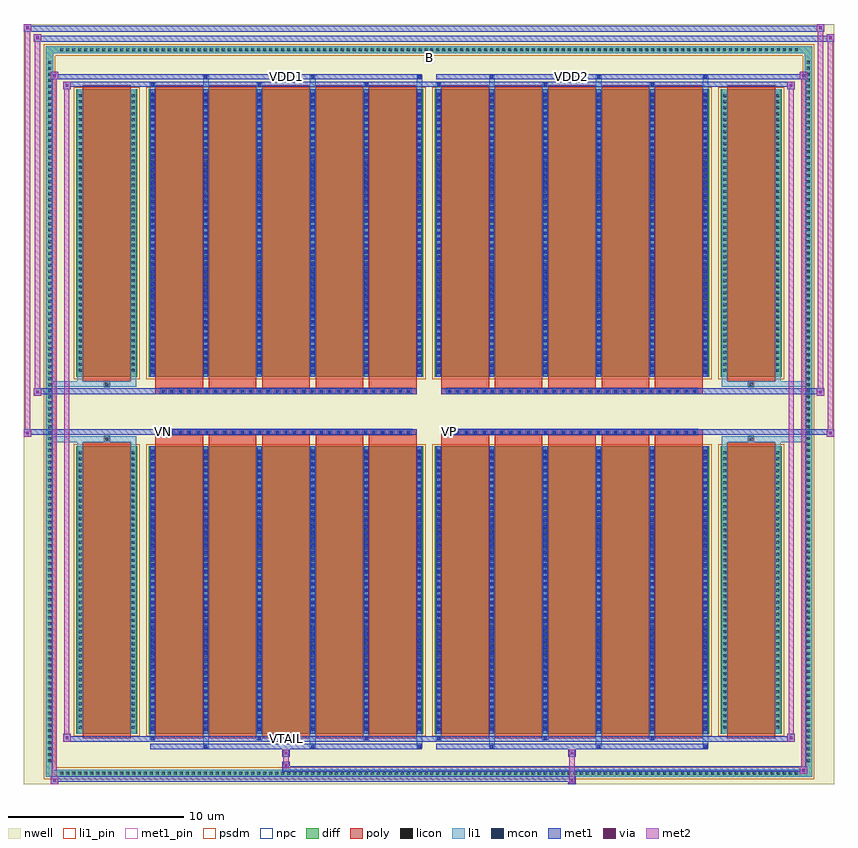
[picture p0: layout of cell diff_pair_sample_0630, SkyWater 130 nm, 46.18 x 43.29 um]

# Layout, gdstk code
import gdstk
lib = gdstk.Library(unit=1e-6, precision=5e-09)
def R(c, l, rs):  # rectangles x0, y0, x1, y1
    for r in rs: c.add(gdstk.rectangle(r[:2], r[2:], *l))
def A(c, l, x, y, w, h, nx, ny, dx, dy):  # array of equal rectangles
    R(c, l, [(x+i*dx, y+j*dy, x+i*dx+w, y+j*dy+h) for i in range(nx) for j in range(ny)])
def P(c, l, *ps):  # polygons
    for p in ps: c.add(gdstk.Polygon(p, *l))
nwell = (64, 20)
diff = (65, 20)
poly = (66, 20)
licon = (66, 44)
li1_pin = (67, 16)
li1 = (67, 20)
mcon = (67, 44)
met1_pin = (68, 16)
met1 = (68, 20)
via = (68, 44)
met2 = (69, 20)
psdm = (94, 20)
npc = (95, 20)

diff_pair_sample_0630 = lib.new_cell('diff_pair_sample_0630')
R(diff_pair_sample_0630, nwell, [(-23.09,-21.21,23.09,22.08), (-20.41,-19.4,-0.01,-0.8), (0.01,-19.4,20.41,-0.8), (-20.41,0.8,-0.01,19.4), (0.01,0.8,20.41,19.4)])
A(diff_pair_sample_0630, diff, -21.115, -20.81, 0.41, 0.41, 124, 2, 0.34, 41.21)
A(diff_pair_sample_0630, diff, -21.82, -20.095, 0.41, 0.41, 1, 118, 0, 0.34)
A(diff_pair_sample_0630, diff, 21.41, -20.095, 0.41, 0.41, 1, 118, 0, 0.34)
R(diff_pair_sample_0630, diff, [(-21.115,-20.81,21.115,-20.4), (-21.82,-20.095,-21.41,20.095), (21.41,-20.095,21.82,20.095), (-20.1,-18.355,-16.61,-1.985), (-15.97,-18.355,-0.32,-1.985), (0.32,-18.355,15.97,-1.985), (16.61,-18.355,20.1,-1.985), (-20.1,1.985,-16.61,18.355), (-15.97,1.985,-0.32,18.355), (0.32,1.985,15.97,18.355), (16.61,1.985,20.1,18.355), (-21.115,20.4,21.115,20.81)])
P(diff_pair_sample_0630, diff, [(21.82,20.81),(-21.82,20.81),(-21.82,-20.4),(-21.41,-20.4),(-21.41,20.4),(21.41,20.4),(21.41,-20.4),(-21.41,-20.4),(-21.82,-20.4),(-21.82,-20.81),(21.82,-20.81)])
A(diff_pair_sample_0630, poly, -15.58, -18.605, 2.71, 16.87, 5, 2, 3.04, 20.34)
A(diff_pair_sample_0630, poly, 0.71, -18.605, 2.71, 16.87, 5, 2, 3.04, 20.34)
A(diff_pair_sample_0630, poly, -15.58, -1.735, 2.71, 0.405, 5, 2, 3.04, 3.065)
A(diff_pair_sample_0630, poly, 0.71, -1.735, 2.71, 0.405, 5, 2, 3.04, 3.065)
A(diff_pair_sample_0630, poly, -15.31, -1.33, 0.33, 0.33, 29, 2, 0.5, 2.33)
A(diff_pair_sample_0630, poly, 0.98, -1.33, 0.33, 0.33, 29, 2, 0.5, 2.33)
R(diff_pair_sample_0630, poly, [(-19.71,-18.605,-17,-1.735), (17,-18.605,19.71,-1.735), (-18.52,-1.735,-18.19,-1.405), (-18.52,-1.735,-18.19,-1.405), (18.19,-1.735,18.52,-1.405), (18.19,-1.735,18.52,-1.405), (-15.58,-1.33,-0.71,-1), (0.71,-1.33,15.58,-1), (-15.58,1,-0.71,1.33), (0.71,1,15.58,1.33), (-18.52,1.405,-18.19,1.735), (-18.52,1.405,-18.19,1.735), (18.19,1.405,18.52,1.735), (18.19,1.405,18.52,1.735), (-19.71,1.735,-17,18.605), (17,1.735,19.71,18.605)])
A(diff_pair_sample_0630, licon, -20.995, -20.69, 0.17, 0.17, 124, 2, 0.34, 41.21)
A(diff_pair_sample_0630, licon, -21.7, -19.975, 0.17, 0.17, 1, 118, 0, 0.34)
A(diff_pair_sample_0630, licon, 21.53, -19.975, 0.17, 0.17, 1, 118, 0, 0.34)
A(diff_pair_sample_0630, licon, -19.96, -18.075, 0.17, 0.17, 1, 47, 0, 0.34)
A(diff_pair_sample_0630, licon, -16.92, -18.075, 0.17, 0.17, 1, 47, 0, 0.34)
A(diff_pair_sample_0630, licon, -15.83, -18.075, 0.17, 0.17, 6, 47, 3.04, 0.34)
A(diff_pair_sample_0630, licon, 0.46, -18.075, 0.17, 0.17, 6, 47, 3.04, 0.34)
A(diff_pair_sample_0630, licon, 16.75, -18.075, 0.17, 0.17, 1, 47, 0, 0.34)
A(diff_pair_sample_0630, licon, 19.79, -18.075, 0.17, 0.17, 1, 47, 0, 0.34)
A(diff_pair_sample_0630, licon, -15.23, -1.25, 0.17, 0.17, 29, 2, 0.5, 2.33)
A(diff_pair_sample_0630, licon, 1.06, -1.25, 0.17, 0.17, 29, 2, 0.5, 2.33)
A(diff_pair_sample_0630, licon, -19.96, 2.265, 0.17, 0.17, 1, 47, 0, 0.34)
A(diff_pair_sample_0630, licon, -16.92, 2.265, 0.17, 0.17, 1, 47, 0, 0.34)
A(diff_pair_sample_0630, licon, -15.83, 2.265, 0.17, 0.17, 6, 47, 3.04, 0.34)
A(diff_pair_sample_0630, licon, 0.46, 2.265, 0.17, 0.17, 6, 47, 3.04, 0.34)
A(diff_pair_sample_0630, licon, 16.75, 2.265, 0.17, 0.17, 1, 47, 0, 0.34)
A(diff_pair_sample_0630, licon, 19.79, 2.265, 0.17, 0.17, 1, 47, 0, 0.34)
R(diff_pair_sample_0630, licon, [(-18.44,-1.655,-18.27,-1.485), (18.27,-1.655,18.44,-1.485), (-18.44,1.485,-18.27,1.655), (18.27,1.485,18.44,1.655)])
R(diff_pair_sample_0630, li1_pin, [(-0.25,19.9,0.25,20.4)])
A(diff_pair_sample_0630, li1, -21.075, -20.77, 0.33, 0.33, 124, 2, 0.34, 41.21)
A(diff_pair_sample_0630, li1, -21.78, -20.055, 0.33, 0.33, 1, 118, 0, 0.34)
A(diff_pair_sample_0630, li1, 21.45, -20.055, 0.33, 0.33, 1, 118, 0, 0.34)
A(diff_pair_sample_0630, li1, -12.87, -19.16, 0.33, 0.805, 3, 2, 6.08, 37.515)
A(diff_pair_sample_0630, li1, -12.79, -19.16, 0.17, 0.17, 3, 2, 6.08, 38.15)
A(diff_pair_sample_0630, li1, 3.42, -19.16, 0.33, 0.805, 3, 2, 6.08, 37.515)
A(diff_pair_sample_0630, li1, 3.5, -19.16, 0.17, 0.17, 3, 2, 6.08, 38.15)
A(diff_pair_sample_0630, li1, -15.91, -18.73, 0.33, 0.375, 3, 2, 6.08, 37.085)
A(diff_pair_sample_0630, li1, -15.83, -18.73, 0.17, 0.17, 3, 2, 6.08, 37.29)
A(diff_pair_sample_0630, li1, 0.38, -18.73, 0.33, 0.375, 3, 2, 6.08, 37.085)
A(diff_pair_sample_0630, li1, 0.46, -18.73, 0.17, 0.17, 3, 2, 6.08, 37.29)
A(diff_pair_sample_0630, li1, -15.91, -18.355, 0.33, 16.37, 6, 2, 3.04, 20.34)
A(diff_pair_sample_0630, li1, 0.38, -18.355, 0.33, 16.37, 6, 2, 3.04, 20.34)
A(diff_pair_sample_0630, li1, -15.83, -18.175, 0.17, 0.17, 6, 45, 3.04, 0.36)
A(diff_pair_sample_0630, li1, -15.83, -18.175, 0.17, 16.01, 6, 2, 3.04, 20.34)
A(diff_pair_sample_0630, li1, 0.46, -18.175, 0.17, 0.17, 6, 45, 3.04, 0.36)
A(diff_pair_sample_0630, li1, 0.46, -18.175, 0.17, 16.01, 6, 2, 3.04, 20.34)
A(diff_pair_sample_0630, li1, -20.04, -18.155, 0.33, 0.33, 1, 47, 0, 0.34)
A(diff_pair_sample_0630, li1, -17, -18.155, 0.33, 0.33, 1, 47, 0, 0.34)
A(diff_pair_sample_0630, li1, -15.91, -18.155, 0.33, 0.33, 6, 47, 3.04, 0.34)
A(diff_pair_sample_0630, li1, 0.38, -18.155, 0.33, 0.33, 6, 47, 3.04, 0.34)
A(diff_pair_sample_0630, li1, 16.67, -18.155, 0.33, 0.33, 1, 47, 0, 0.34)
A(diff_pair_sample_0630, li1, 19.71, -18.155, 0.33, 0.33, 1, 47, 0, 0.34)
A(diff_pair_sample_0630, li1, -15.31, -1.33, 0.33, 0.33, 29, 2, 0.5, 2.33)
A(diff_pair_sample_0630, li1, 0.98, -1.33, 0.33, 0.33, 29, 2, 0.5, 2.33)
A(diff_pair_sample_0630, li1, -15.83, 2.165, 0.17, 0.17, 6, 45, 3.04, 0.36)
A(diff_pair_sample_0630, li1, 0.46, 2.165, 0.17, 0.17, 6, 45, 3.04, 0.36)
A(diff_pair_sample_0630, li1, -20.04, 2.185, 0.33, 0.33, 1, 47, 0, 0.34)
A(diff_pair_sample_0630, li1, -17, 2.185, 0.33, 0.33, 1, 47, 0, 0.34)
A(diff_pair_sample_0630, li1, -15.91, 2.185, 0.33, 0.33, 6, 47, 3.04, 0.34)
A(diff_pair_sample_0630, li1, 0.38, 2.185, 0.33, 0.33, 6, 47, 3.04, 0.34)
A(diff_pair_sample_0630, li1, 16.67, 2.185, 0.33, 0.33, 1, 47, 0, 0.34)
A(diff_pair_sample_0630, li1, 19.71, 2.185, 0.33, 0.33, 1, 47, 0, 0.34)
R(diff_pair_sample_0630, li1, [(-21.82,-20.81,-21.41,-20.4), (-21.82,-20.81,-21.41,-20.4), (-21.41,-20.81,21.41,-20.4), (21.41,-20.81,21.82,-20.4), (21.41,-20.81,21.82,-20.4), (-21.82,-20.4,-21.41,20.4), (21.41,-20.4,21.82,20.4), (-20.04,-18.355,-19.71,-1.985), (-17,-18.355,-16.67,-1.985), (16.67,-18.355,17,-1.985), (19.71,-18.355,20.04,-1.985), (-20.04,-1.985,-19.71,-1.405), (-17,-1.985,-16.67,-1.405), (16.67,-1.985,17,-1.405), (19.71,-1.985,20.04,-1.405), (-21.82,-1.735,-18.52,-1.405), (-20.04,-1.735,-18.52,-1.405), (-18.52,-1.735,-18.19,-1.405), (-18.19,-1.735,-16.67,-1.405), (16.67,-1.735,18.19,-1.405), (18.19,-1.735,18.52,-1.405), (18.19,-1.735,21.82,-1.405), (18.52,-1.735,20.04,-1.405), (-21.82,1.405,-18.52,1.735), (-20.04,1.405,-18.52,1.735), (-20.04,1.405,-19.71,1.985), (-18.52,1.405,-18.19,1.735), (-18.19,1.405,-16.67,1.735), (-17,1.405,-16.67,1.985), (16.67,1.405,18.19,1.735), (16.67,1.405,17,1.985), (18.19,1.405,18.52,1.735), (18.19,1.405,21.82,1.735), (18.52,1.405,20.04,1.735), (19.71,1.405,20.04,1.985), (-20.04,1.985,-19.71,18.355), (-17,1.985,-16.67,18.355), (16.67,1.985,17,18.355), (19.71,1.985,20.04,18.355), (-21.82,20.4,-21.41,20.81), (-21.82,20.4,-21.41,20.81), (-21.41,20.4,21.41,20.81), (21.41,20.4,21.82,20.81), (21.41,20.4,21.82,20.81)])
A(diff_pair_sample_0630, mcon, -12.79, -19.16, 0.17, 0.17, 3, 2, 6.08, 38.15)
A(diff_pair_sample_0630, mcon, 3.5, -19.16, 0.17, 0.17, 3, 2, 6.08, 38.15)
A(diff_pair_sample_0630, mcon, -15.83, -18.73, 0.17, 0.17, 3, 2, 6.08, 37.29)
A(diff_pair_sample_0630, mcon, 0.46, -18.73, 0.17, 0.17, 3, 2, 6.08, 37.29)
A(diff_pair_sample_0630, mcon, -15.83, -18.175, 0.17, 0.17, 6, 45, 3.04, 0.36)
A(diff_pair_sample_0630, mcon, 0.46, -18.175, 0.17, 0.17, 6, 45, 3.04, 0.36)
A(diff_pair_sample_0630, mcon, -15.23, -1.25, 0.17, 0.17, 29, 2, 0.5, 2.33)
A(diff_pair_sample_0630, mcon, 1.06, -1.25, 0.17, 0.17, 29, 2, 0.5, 2.33)
A(diff_pair_sample_0630, mcon, -15.83, 2.165, 0.17, 0.17, 6, 45, 3.04, 0.36)
A(diff_pair_sample_0630, mcon, 0.46, 2.165, 0.17, 0.17, 6, 45, 3.04, 0.36)
R(diff_pair_sample_0630, met1_pin, [(-8.28,-18.77,-8.01,-18.5), (-15.28,-1.29,-15.01,-1.02), (1.01,-1.29,1.28,-1.02), (-8.28,18.95,-8.01,19.22), (8.01,18.95,8.28,19.22)])
A(diff_pair_sample_0630, met1, -12.85, -19.22, 0.29, 0.29, 3, 2, 6.08, 38.15)
A(diff_pair_sample_0630, met1, 3.44, -19.22, 0.29, 0.29, 3, 2, 6.08, 38.15)
A(diff_pair_sample_0630, met1, -15.89, -18.79, 0.29, 0.29, 3, 2, 6.08, 37.29)
A(diff_pair_sample_0630, met1, 0.4, -18.79, 0.29, 0.29, 3, 2, 6.08, 37.29)
A(diff_pair_sample_0630, met1, -15.89, -18.355, 0.29, 16.37, 6, 2, 3.04, 20.34)
A(diff_pair_sample_0630, met1, 0.4, -18.355, 0.29, 16.37, 6, 2, 3.04, 20.34)
A(diff_pair_sample_0630, met1, -15.89, -18.235, 0.29, 0.29, 6, 45, 3.04, 0.36)
A(diff_pair_sample_0630, met1, 0.4, -18.235, 0.29, 0.29, 6, 45, 3.04, 0.36)
A(diff_pair_sample_0630, met1, -15.29, -1.31, 0.29, 0.29, 29, 2, 0.5, 2.33)
A(diff_pair_sample_0630, met1, 1, -1.31, 0.29, 0.29, 29, 2, 0.5, 2.33)
A(diff_pair_sample_0630, met1, -15.89, 2.105, 0.29, 0.29, 6, 45, 3.04, 0.36)
A(diff_pair_sample_0630, met1, 0.4, 2.105, 0.29, 0.29, 6, 45, 3.04, 0.36)
R(diff_pair_sample_0630, met1, [(-21.55,-21.21,-21.12,-20.78), (7.93,-21.21,8.36,-20.78), (-21.55,-21.07,8.36,-20.78), (21.12,-20.64,21.55,-20.21), (-8.36,-20.5,21.55,-20.21), (-8.36,-20.36,-7.93,-19.93), (-8.36,-19.65,-7.93,-19.22), (7.93,-19.65,8.36,-19.22), (-15.89,-19.22,-0.4,-18.93), (0.4,-19.22,15.89,-18.93), (-20.84,-18.79,-20.41,-18.36), (-20.84,-18.79,-15.89,-18.5), (-15.89,-18.79,-0.4,-18.5), (-0.4,-18.79,0.4,-18.5), (0.4,-18.79,15.89,-18.5), (15.89,-18.79,20.84,-18.5), (20.41,-18.79,20.84,-18.36), (-23.09,-1.43,-22.66,-1), (22.66,-1.43,23.09,-1), (-23.09,-1.33,-0.71,-1), (-15.58,-1.33,-0.71,-1), (0.71,-1.33,15.58,-1), (0.71,-1.33,23.09,-1), (-22.52,0.9,-22.09,1.33), (22.09,0.9,22.52,1.33), (-22.52,1,-15.58,1.33), (-15.58,1,-0.71,1.33), (0.71,1,15.58,1.33), (15.58,1,22.52,1.33), (-20.84,18.36,-20.41,18.79), (20.41,18.36,20.84,18.79), (-20.84,18.5,-15.89,18.79), (-15.89,18.5,-0.4,18.79), (-0.4,18.5,0.4,18.79), (0.4,18.5,15.89,18.79), (15.89,18.5,20.84,18.79), (-21.55,18.93,-21.12,19.36), (-21.55,18.93,-15.89,19.22), (-15.89,18.93,-0.4,19.22), (0.4,18.93,15.89,19.22), (15.89,18.93,21.55,19.22), (21.12,18.93,21.55,19.36), (-22.52,21.08,-22.09,21.51), (-22.52,21.08,-20.41,21.41), (-20.41,21.08,20.41,21.41), (20.41,21.08,23.09,21.41), (22.66,21.08,23.09,21.51), (-23.09,21.65,-22.66,22.08), (-23.09,21.65,-20.41,21.98), (-20.41,21.65,20.41,21.98), (20.41,21.65,22.52,21.98), (22.09,21.65,22.52,22.08)])
R(diff_pair_sample_0630, via, [(-21.41,-21.07,-21.26,-20.92), (8.07,-21.07,8.22,-20.92), (21.26,-20.5,21.41,-20.35), (-8.22,-20.22,-8.07,-20.07), (-8.22,-19.51,-8.07,-19.36), (8.07,-19.51,8.22,-19.36), (-20.7,-18.65,-20.55,-18.5), (20.55,-18.65,20.7,-18.5), (-22.95,-1.29,-22.8,-1.14), (22.8,-1.29,22.95,-1.14), (-22.38,1.04,-22.23,1.19), (22.23,1.04,22.38,1.19), (-20.7,18.5,-20.55,18.65), (20.55,18.5,20.7,18.65), (-21.41,19.07,-21.26,19.22), (21.26,19.07,21.41,19.22), (-22.38,21.22,-22.23,21.37), (22.8,21.22,22.95,21.37), (-22.95,21.79,-22.8,21.94), (22.23,21.79,22.38,21.94)])
R(diff_pair_sample_0630, met2, [(-21.55,-21.21,-21.12,-20.78), (-21.48,-21.21,-21.19,19.36), (-21.19,-21.21,-21.12,-20.78), (-21.5,-21.16,-21.17,-20.83), (7.98,-21.16,8.31,-20.83), (7.98,-20.83,8.31,-19.6), (21.12,-20.64,21.55,-20.21), (21.19,-20.64,21.48,19.36), (21.48,-20.64,21.55,-20.21), (21.17,-20.59,21.5,-20.26), (-8.31,-20.31,-7.98,-19.98), (-8.31,-19.98,-7.98,-19.6), (-8.31,-19.6,-7.98,-19.27), (7.98,-19.6,8.31,-19.27), (-20.84,-18.79,-20.41,-18.36), (-20.77,-18.79,-20.48,18.79), (-20.48,-18.79,-20.41,-18.36), (20.41,-18.79,20.84,-18.36), (20.48,-18.79,20.77,18.79), (20.77,-18.79,20.84,-18.36), (-20.79,-18.74,-20.46,-18.41), (20.46,-18.74,20.79,-18.41), (-23.09,-1.43,-22.66,-1), (-23.04,-1.43,-22.71,22.08), (-22.71,-1.43,-22.66,-1), (22.66,-1.43,23.09,-1), (22.71,-1.43,23.04,21.51), (23.04,-1.43,23.09,-1), (-23.04,-1.38,-22.71,-1.05), (22.71,-1.38,23.04,-1.05), (-22.52,0.9,-22.09,1.33), (-22.47,0.9,-22.14,21.51), (-22.14,0.9,-22.09,1.33), (22.09,0.9,22.52,1.33), (22.14,0.9,22.47,22.08), (22.47,0.9,22.52,1.33), (-22.47,0.95,-22.14,1.28), (22.14,0.95,22.47,1.28), (-20.84,18.36,-20.41,18.79), (-20.48,18.36,-20.41,18.79), (20.41,18.36,20.84,18.79), (20.77,18.36,20.84,18.79), (-20.79,18.41,-20.46,18.74), (20.46,18.41,20.79,18.74), (-21.55,18.93,-21.12,19.36), (-21.19,18.93,-21.12,19.36), (21.12,18.93,21.55,19.36), (21.48,18.93,21.55,19.36), (-21.5,18.98,-21.17,19.31), (21.17,18.98,21.5,19.31), (-22.52,21.08,-22.09,21.51), (-22.14,21.08,-22.09,21.51), (22.66,21.08,23.09,21.51), (23.04,21.08,23.09,21.51), (-22.47,21.13,-22.14,21.46), (22.71,21.13,23.04,21.46), (-23.09,21.65,-22.66,22.08), (-22.71,21.65,-22.66,22.08), (22.09,21.65,22.52,22.08), (22.47,21.65,22.52,22.08), (-23.04,21.7,-22.71,22.03), (22.14,21.7,22.47,22.03)])
R(diff_pair_sample_0630, psdm, [(-20.23,-18.485,-16.48,-1.855), (-16.1,-18.485,-0.19,-1.855), (0.19,-18.485,16.1,-1.855), (16.48,-18.485,20.23,-1.855), (-20.23,1.855,-16.48,18.485), (-16.1,1.855,-0.19,18.485), (0.19,1.855,16.1,18.485), (16.48,1.855,20.23,18.485)])
P(diff_pair_sample_0630, psdm, [(21.95,20.94),(-21.95,20.94),(-21.95,-20.27),(-21.28,-20.27),(-21.28,20.27),(21.28,20.27),(21.28,-20.27),(-21.28,-20.27),(-21.95,-20.27),(-21.95,-20.94),(21.95,-20.94)])
A(diff_pair_sample_0630, npc, -15.33, -1.35, 0.37, 0.37, 29, 2, 0.5, 2.33)
A(diff_pair_sample_0630, npc, 0.96, -1.35, 0.37, 0.37, 29, 2, 0.5, 2.33)
R(diff_pair_sample_0630, npc, [(-18.54,-1.755,-18.17,-1.385), (18.17,-1.755,18.54,-1.385), (-15.33,-1.35,-14.46,-0.98), (-15.33,-1.35,-14.46,-0.98), (-14.83,-1.35,-13.96,-0.98), (-14.83,-1.35,-13.96,-0.98), (-14.33,-1.35,-13.46,-0.98), (-14.33,-1.35,-13.46,-0.98), (-13.83,-1.35,-12.96,-0.98), (-13.83,-1.35,-12.96,-0.98), (-13.33,-1.35,-12.46,-0.98), (-13.33,-1.35,-12.46,-0.98), (-12.83,-1.35,-11.96,-0.98), (-12.83,-1.35,-11.96,-0.98), (-12.33,-1.35,-11.46,-0.98), (-12.33,-1.35,-11.46,-0.98), (-11.83,-1.35,-10.96,-0.98), (-11.83,-1.35,-10.96,-0.98), (-11.33,-1.35,-10.46,-0.98), (-11.33,-1.35,-10.46,-0.98), (-10.83,-1.35,-9.96,-0.98), (-10.83,-1.35,-9.96,-0.98), (-10.33,-1.35,-9.46,-0.98), (-10.33,-1.35,-9.46,-0.98), (-9.83,-1.35,-8.96,-0.98), (-9.83,-1.35,-8.96,-0.98), (-9.33,-1.35,-8.46,-0.98), (-9.33,-1.35,-8.46,-0.98), (-8.83,-1.35,-7.96,-0.98), (-8.83,-1.35,-7.96,-0.98), (-8.33,-1.35,-7.46,-0.98), (-8.33,-1.35,-7.46,-0.98), (-7.83,-1.35,-6.96,-0.98), (-7.83,-1.35,-6.96,-0.98), (-7.33,-1.35,-6.46,-0.98), (-7.33,-1.35,-6.46,-0.98), (-6.83,-1.35,-5.96,-0.98), (-6.83,-1.35,-5.96,-0.98), (-6.33,-1.35,-5.46,-0.98), (-6.33,-1.35,-5.46,-0.98), (-5.83,-1.35,-4.96,-0.98), (-5.83,-1.35,-4.96,-0.98), (-5.33,-1.35,-4.46,-0.98), (-5.33,-1.35,-4.46,-0.98), (-4.83,-1.35,-3.96,-0.98), (-4.83,-1.35,-3.96,-0.98), (-4.33,-1.35,-3.46,-0.98), (-4.33,-1.35,-3.46,-0.98), (-3.83,-1.35,-2.96,-0.98), (-3.83,-1.35,-2.96,-0.98), (-3.33,-1.35,-2.46,-0.98), (-3.33,-1.35,-2.46,-0.98), (-2.83,-1.35,-1.96,-0.98), (-2.83,-1.35,-1.96,-0.98), (-2.33,-1.35,-1.46,-0.98), (-2.33,-1.35,-1.46,-0.98), (-1.83,-1.35,-0.96,-0.98), (-1.83,-1.35,-0.96,-0.98), (0.96,-1.35,1.83,-0.98), (0.96,-1.35,1.83,-0.98), (1.46,-1.35,2.33,-0.98), (1.46,-1.35,2.33,-0.98), (1.96,-1.35,2.83,-0.98), (1.96,-1.35,2.83,-0.98), (2.46,-1.35,3.33,-0.98), (2.46,-1.35,3.33,-0.98), (2.96,-1.35,3.83,-0.98), (2.96,-1.35,3.83,-0.98), (3.46,-1.35,4.33,-0.98), (3.46,-1.35,4.33,-0.98), (3.96,-1.35,4.83,-0.98), (3.96,-1.35,4.83,-0.98), (4.46,-1.35,5.33,-0.98), (4.46,-1.35,5.33,-0.98), (4.96,-1.35,5.83,-0.98), (4.96,-1.35,5.83,-0.98), (5.46,-1.35,6.33,-0.98), (5.46,-1.35,6.33,-0.98), (5.96,-1.35,6.83,-0.98), (5.96,-1.35,6.83,-0.98), (6.46,-1.35,7.33,-0.98), (6.46,-1.35,7.33,-0.98), (6.96,-1.35,7.83,-0.98), (6.96,-1.35,7.83,-0.98), (7.46,-1.35,8.33,-0.98), (7.46,-1.35,8.33,-0.98), (7.96,-1.35,8.83,-0.98), (7.96,-1.35,8.83,-0.98), (8.46,-1.35,9.33,-0.98), (8.46,-1.35,9.33,-0.98), (8.96,-1.35,9.83,-0.98), (8.96,-1.35,9.83,-0.98), (9.46,-1.35,10.33,-0.98), (9.46,-1.35,10.33,-0.98), (9.96,-1.35,10.83,-0.98), (9.96,-1.35,10.83,-0.98), (10.46,-1.35,11.33,-0.98), (10.46,-1.35,11.33,-0.98), (10.96,-1.35,11.83,-0.98), (10.96,-1.35,11.83,-0.98), (11.46,-1.35,12.33,-0.98), (11.46,-1.35,12.33,-0.98), (11.96,-1.35,12.83,-0.98), (11.96,-1.35,12.83,-0.98), (12.46,-1.35,13.33,-0.98), (12.46,-1.35,13.33,-0.98), (12.96,-1.35,13.83,-0.98), (12.96,-1.35,13.83,-0.98), (13.46,-1.35,14.33,-0.98), (13.46,-1.35,14.33,-0.98), (13.96,-1.35,14.83,-0.98), (13.96,-1.35,14.83,-0.98), (14.46,-1.35,15.33,-0.98), (14.46,-1.35,15.33,-0.98), (-15.33,0.98,-14.46,1.35), (-15.33,0.98,-14.46,1.35), (-14.83,0.98,-13.96,1.35), (-14.83,0.98,-13.96,1.35), (-14.33,0.98,-13.46,1.35), (-14.33,0.98,-13.46,1.35), (-13.83,0.98,-12.96,1.35), (-13.83,0.98,-12.96,1.35), (-13.33,0.98,-12.46,1.35), (-13.33,0.98,-12.46,1.35), (-12.83,0.98,-11.96,1.35), (-12.83,0.98,-11.96,1.35), (-12.33,0.98,-11.46,1.35), (-12.33,0.98,-11.46,1.35), (-11.83,0.98,-10.96,1.35), (-11.83,0.98,-10.96,1.35), (-11.33,0.98,-10.46,1.35), (-11.33,0.98,-10.46,1.35), (-10.83,0.98,-9.96,1.35), (-10.83,0.98,-9.96,1.35), (-10.33,0.98,-9.46,1.35), (-10.33,0.98,-9.46,1.35), (-9.83,0.98,-8.96,1.35), (-9.83,0.98,-8.96,1.35), (-9.33,0.98,-8.46,1.35), (-9.33,0.98,-8.46,1.35), (-8.83,0.98,-7.96,1.35), (-8.83,0.98,-7.96,1.35), (-8.33,0.98,-7.46,1.35), (-8.33,0.98,-7.46,1.35), (-7.83,0.98,-6.96,1.35), (-7.83,0.98,-6.96,1.35), (-7.33,0.98,-6.46,1.35), (-7.33,0.98,-6.46,1.35), (-6.83,0.98,-5.96,1.35), (-6.83,0.98,-5.96,1.35), (-6.33,0.98,-5.46,1.35), (-6.33,0.98,-5.46,1.35), (-5.83,0.98,-4.96,1.35), (-5.83,0.98,-4.96,1.35), (-5.33,0.98,-4.46,1.35), (-5.33,0.98,-4.46,1.35), (-4.83,0.98,-3.96,1.35), (-4.83,0.98,-3.96,1.35), (-4.33,0.98,-3.46,1.35), (-4.33,0.98,-3.46,1.35), (-3.83,0.98,-2.96,1.35), (-3.83,0.98,-2.96,1.35), (-3.33,0.98,-2.46,1.35), (-3.33,0.98,-2.46,1.35), (-2.83,0.98,-1.96,1.35), (-2.83,0.98,-1.96,1.35), (-2.33,0.98,-1.46,1.35), (-2.33,0.98,-1.46,1.35), (-1.83,0.98,-0.96,1.35), (-1.83,0.98,-0.96,1.35), (0.96,0.98,1.83,1.35), (0.96,0.98,1.83,1.35), (1.46,0.98,2.33,1.35), (1.46,0.98,2.33,1.35), (1.96,0.98,2.83,1.35), (1.96,0.98,2.83,1.35), (2.46,0.98,3.33,1.35), (2.46,0.98,3.33,1.35), (2.96,0.98,3.83,1.35), (2.96,0.98,3.83,1.35), (3.46,0.98,4.33,1.35), (3.46,0.98,4.33,1.35), (3.96,0.98,4.83,1.35), (3.96,0.98,4.83,1.35), (4.46,0.98,5.33,1.35), (4.46,0.98,5.33,1.35), (4.96,0.98,5.83,1.35), (4.96,0.98,5.83,1.35), (5.46,0.98,6.33,1.35), (5.46,0.98,6.33,1.35), (5.96,0.98,6.83,1.35), (5.96,0.98,6.83,1.35), (6.46,0.98,7.33,1.35), (6.46,0.98,7.33,1.35), (6.96,0.98,7.83,1.35), (6.96,0.98,7.83,1.35), (7.46,0.98,8.33,1.35), (7.46,0.98,8.33,1.35), (7.96,0.98,8.83,1.35), (7.96,0.98,8.83,1.35), (8.46,0.98,9.33,1.35), (8.46,0.98,9.33,1.35), (8.96,0.98,9.83,1.35), (8.96,0.98,9.83,1.35), (9.46,0.98,10.33,1.35), (9.46,0.98,10.33,1.35), (9.96,0.98,10.83,1.35), (9.96,0.98,10.83,1.35), (10.46,0.98,11.33,1.35), (10.46,0.98,11.33,1.35), (10.96,0.98,11.83,1.35), (10.96,0.98,11.83,1.35), (11.46,0.98,12.33,1.35), (11.46,0.98,12.33,1.35), (11.96,0.98,12.83,1.35), (11.96,0.98,12.83,1.35), (12.46,0.98,13.33,1.35), (12.46,0.98,13.33,1.35), (12.96,0.98,13.83,1.35), (12.96,0.98,13.83,1.35), (13.46,0.98,14.33,1.35), (13.46,0.98,14.33,1.35), (13.96,0.98,14.83,1.35), (13.96,0.98,14.83,1.35), (14.46,0.98,15.33,1.35), (14.46,0.98,15.33,1.35), (-18.54,1.385,-18.17,1.755), (18.17,1.385,18.54,1.755)])
diff_pair_sample_0630.add(gdstk.Label('VTAIL', (-8.145,-18.635), layer=68, texttype=5))
diff_pair_sample_0630.add(gdstk.Label('VN', (-15.145,-1.155), layer=68, texttype=5))
diff_pair_sample_0630.add(gdstk.Label('VP', (1.145,-1.155), layer=68, texttype=5))
diff_pair_sample_0630.add(gdstk.Label('B', (0,20.15), layer=67, texttype=5))
diff_pair_sample_0630.add(gdstk.Label('VDD2', (8.145,19.085), layer=68, texttype=5))
diff_pair_sample_0630.add(gdstk.Label('VDD1', (-8.145,19.085), layer=68, texttype=5))

lib.write_gds('diff_pair_sample_0630.gds')
